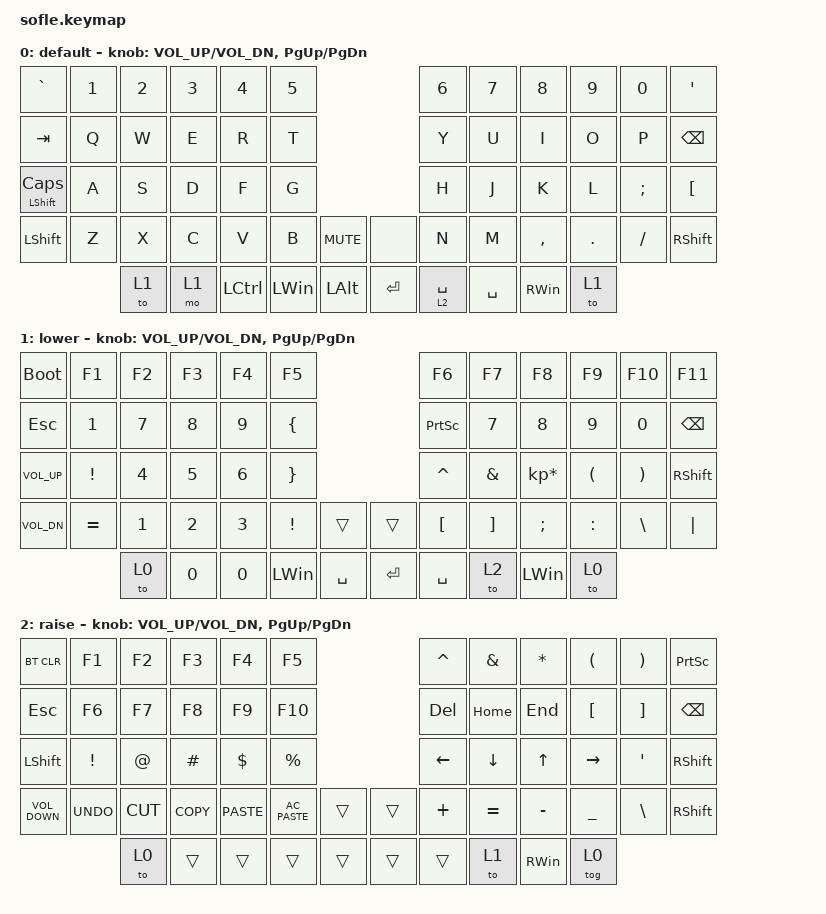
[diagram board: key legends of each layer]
/*
 * Copyright (c) 2020 The ZMK Contributors
 *
 * SPDX-License-Identifier: MIT
 */

#include <behaviors.dtsi>
#include <dt-bindings/zmk/bt.h>
#include <dt-bindings/zmk/keys.h>

#define BASE 0
#define LOWER 1
#define RAISE 2
#define ADJUST 3

/ {
    // Activate ADJUST layer by pressing raise and lower

    conditional_layers {
        compatible = "zmk,conditional-layers";

        adjust_layer {
            if-layers = <1 2>;
            then-layer = <3>;
        };
    };

    keymap {
        compatible = "zmk,keymap";

        default_layer {
            display-name = "default";

            // ------------------------------------------------------------------------------------------------------------
            // |   `   |  1  |  2  |  3   |  4   |  5   |                   |  6   |  7    |  8    |  9   |   0   |       |
            // |  ESC  |  Q  |  W  |  E   |  R   |  T   |                   |  Y   |  U    |  I    |  O   |   P   | BKSPC |
            // |  TAB  |  A  |  S  |  D   |  F   |  G   |                   |  H   |  J    |  K    |  L   |   ;   |   '   |
            // | SHIFT |  Z  |  X  |  C   |  V   |  B   |  MUTE  |  |       |  N   |  M    |  ,    |  .   |   /   | SHIFT |
            //               | GUI | ALT  | CTRL | LOWER|  ENTER |  | SPACE | RAISE| CTRL  | ALT   | GUI  |

            bindings = <
&kp GRAVE            &kp N1  &kp N2  &kp N3  &kp N4            &kp N5                                   &kp N6       &kp N7     &kp N8         &kp N9   &kp N0    &kp SINGLE_QUOTE
&kp TAB              &kp Q   &kp W   &kp E   &kp R             &kp T                                    &kp Y        &kp U      &kp I          &kp O    &kp P     &kp BACKSPACE
&mt LEFT_SHIFT CLCK  &kp A   &kp S   &kp D   &kp F             &kp G                                    &kp H        &kp J      &kp K          &kp L    &kp SEMI  &kp LEFT_BRACKET
&kp LEFT_SHIFT       &kp Z   &kp X   &kp C   &kp V             &kp B         &kp C_MUTE      &none      &kp N        &kp M      &kp COMMA      &kp DOT  &kp FSLH  &kp RSHFT
                             &to 1   &mo 1   &kp LEFT_CONTROL  &kp LEFT_WIN  &kp LEFT_ALT    &kp ENTER  &lt 2 SPACE  &kp SPACE  &kp RIGHT_WIN  &to 1
            >;

            sensor-bindings = <&inc_dec_kp C_VOL_UP C_VOL_DN &inc_dec_kp PG_UP PG_DN>;
        };

        lower_layer {
            display-name = "lower";

            // TODO: Some binds are waiting for shifted keycode support.
            // ------------------------------------------------------------------------------------------------------------
            // |       |  F1 |  F2 |  F3  |  F4  |  F5  |                   |  F6  |  F7   |  F8   |  F9  |  F10  |  F11  |
            // |   `   |  1  |  2  |  3   |  4   |  5   |                   |  6   |  7    |  8    |  9   |   0   |  F12  |
            // |       |  !  |  @  |  #   |  $   |  %   |                   |  ^   |  &    |  *    |  (   |   )   |   |   |
            // |       |  =  |  -  |  +   |  {   |  }   |        |  |       |  [   |  ]    |  ;    |  :   |   \   |       |
            //               |     |      |      |      |        |  |       |      |       |       |      |

            bindings = <
&bootloader      &kp F1     &kp F2        &kp F3        &kp F4        &kp F5                                   &kp F6           &kp F7    &kp F8           &kp F9     &kp F10   &kp F11
&kp ESCAPE       &kp N1     &kp NUMBER_7  &kp NUMBER_8  &kp NUMBER_9  &kp LEFT_BRACE                           &kp PRINTSCREEN  &kp N7    &kp N8           &kp N9     &kp N0    &kp BACKSPACE
&kp C_VOLUME_UP  &kp EXCL   &kp NUMBER_4  &kp NUMBER_5  &kp NUMBER_6  &kp RIGHT_BRACE                          &kp CARET        &kp AMPS  &kp KP_MULTIPLY  &kp LPAR   &kp RPAR  &kp RIGHT_SHIFT
&kp C_VOL_DN     &kp EQUAL  &kp NUMBER_1  &kp NUMBER_2  &kp NUMBER_3  &kp EXCLAMATION  &trans       &trans     &kp LBKT         &kp RBKT  &kp SEMI         &kp COLON  &kp BSLH  &kp PIPE
                            &to 0         &kp NUMBER_0  &kp NUMBER_0  &kp LEFT_WIN     &kp SPACE    &kp ENTER  &kp SPACE        &to 2     &kp LEFT_WIN     &to 0
            >;

            sensor-bindings = <&inc_dec_kp C_VOL_UP C_VOL_DN &inc_dec_kp PG_UP PG_DN>;
        };

        raise_layer {
            display-name = "raise";

            // ------------------------------------------------------------------------------------------------------------
            // | BTCLR | BT1  | BT2  |  BT3  |  BT4  |  BT5 |                |      |      |       |      |       |       |
            // |       | INS  | PSCR | GUI   |       |      |                | PGUP |      |   ^   |      |       |       |
            // |       | ALT  | CTRL | SHIFT |       | CAPS |                | PGDN |   <- |   v   |  ->  |  DEL  | BKSPC |
            // |       | UNDO | CUT  | COPY  | PASTE |      |      |  |      |      |      |       |      |       |       |
            //                |      |       |       |      |      |  |      |      |      |       |      |

            bindings = <
&bt BT_CLR         &kp F1           &kp F2       &kp F3      &kp F4       &kp F5                            &kp CARET       &kp AMPERSAND  &kp ASTERISK   &kp LEFT_PARENTHESIS  &kp RIGHT_PARENTHESIS  &kp PRINTSCREEN
&kp ESCAPE         &kp F6           &kp F7       &kp F8      &kp F9       &kp F10                           &kp DELETE      &kp HOME       &kp END        &kp LEFT_BRACKET      &kp RIGHT_BRACKET      &kp BACKSPACE
&kp LEFT_SHIFT     &kp EXCLAMATION  &kp AT_SIGN  &kp HASH    &kp DOLLAR   &kp PERCENT                       &kp LEFT_ARROW  &kp DOWN       &kp UP_ARROW   &kp RIGHT             &kp SINGLE_QUOTE       &kp RIGHT_SHIFT
&kp C_VOLUME_DOWN  &kp K_UNDO       &kp K_CUT    &kp K_COPY  &kp K_PASTE  &kp C_AC_PASTE  &trans    &trans  &kp PLUS        &kp EQUAL      &kp MINUS      &kp UNDER             &kp BACKSLASH          &kp RIGHT_SHIFT
                                    &to 0        &trans      &trans       &trans          &trans    &trans  &trans          &to 1          &kp RIGHT_WIN  &tog 0
            >;

            sensor-bindings = <&inc_dec_kp C_VOL_UP C_VOL_DN &inc_dec_kp PG_UP PG_DN>;
        };
    };
};
